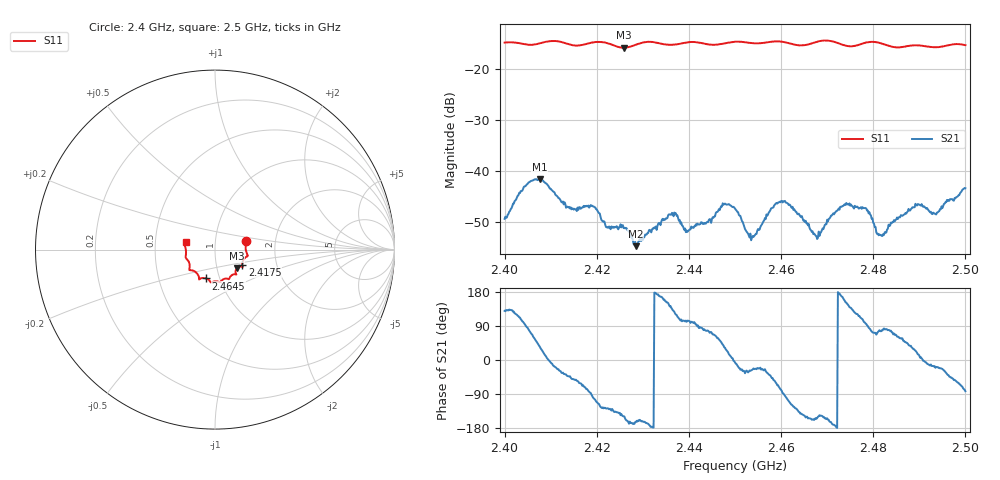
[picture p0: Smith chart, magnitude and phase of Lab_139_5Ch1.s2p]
# Hz S RI R 50
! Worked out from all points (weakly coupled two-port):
!   601 points, 2.4 GHz to 2.5 GHz, reference 50 ohm
!   highest |S21| = -41.61 dB at 2.4077 GHz (marker M1); lowest = -54.7 dB at 2.4285 GHz (marker M2)
!   lowest |S11| = -15.9 dB at 2.4258 GHz (marker M3), VSWR 1.38, Z = 62.3 - j13.2 ohm
!   |S11| at or under -10 dB: start of sweep to end of sweep
!   S12 and S22 are empty: the file has one direction only
!   S11 on the Smith chart (normalised r, x): 2.4 GHz: 1.41, +0.14; 2.4175 GHz: 1.34, -0.23; 2.4645 GHz: 0.86, -0.28; 2.5 GHz: 0.72, +0.06
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2.4e9  0.1726 0.049  -0.00217 0.00261  0 0  0 0
2.404667e9  0.1712 0.0178  0.000141 0.00723  0 0  0 0
2.407667e9  0.1761 -0.0174  0.00687 0.00468  0 0  0 0
2.416667e9  0.1528 -0.0739  0.00197 -0.00385  0 0  0 0
2.4175e9  0.1519 -0.0833  0.0014 -0.00432  0 0  0 0
2.425833e9  0.1219 -0.1035  -0.00234 -0.00144  0 0  0 0
2.4285e9  0.1147 -0.1274  -0.00176 -0.00052  0 0  0 0
2.433333e9  0.1131 -0.1373  -0.00301 0.000368  0 0  0 0
2.436667e9  0.0894 -0.1461  -0.00229 0.00277  0 0  0 0
2.439833e9  0.0794 -0.1626  -0.000608 0.00251  0 0  0 0
2.45e9  0.0287 -0.1809  0.00425 -0.000484  0 0  0 0
2.4535e9  0.0141 -0.1774  0.00186 -0.000972  0 0  0 0
2.4595e9  -0.0229 -0.1831  0.00163 -0.00463  0 0  0 0
2.4645e9  -0.0516 -0.1606  -0.00288 -0.00218  0 0  0 0
2.466667e9  -0.0758 -0.1594  -0.00234 -0.000971  0 0  0 0
2.474333e9  -0.1 -0.1329  -0.00401 0.00246  0 0  0 0
2.478667e9  -0.1394 -0.1148  -9.49e-05 0.00409  0 0  0 0
2.481333e9  -0.1426 -0.1074  0.000477 0.00235  0 0  0 0
2.483333e9  -0.1408 -0.09  0.000554 0.00292  0 0  0 0
2.489667e9  -0.1634 -0.0423  0.00457 0.00123  0 0  0 0
2.493833e9  -0.1618 -0.00414  0.0037 -0.00126  0 0  0 0
2.5e9  -0.1638 0.0434  0.000899 -0.0067  0 0  0 0
